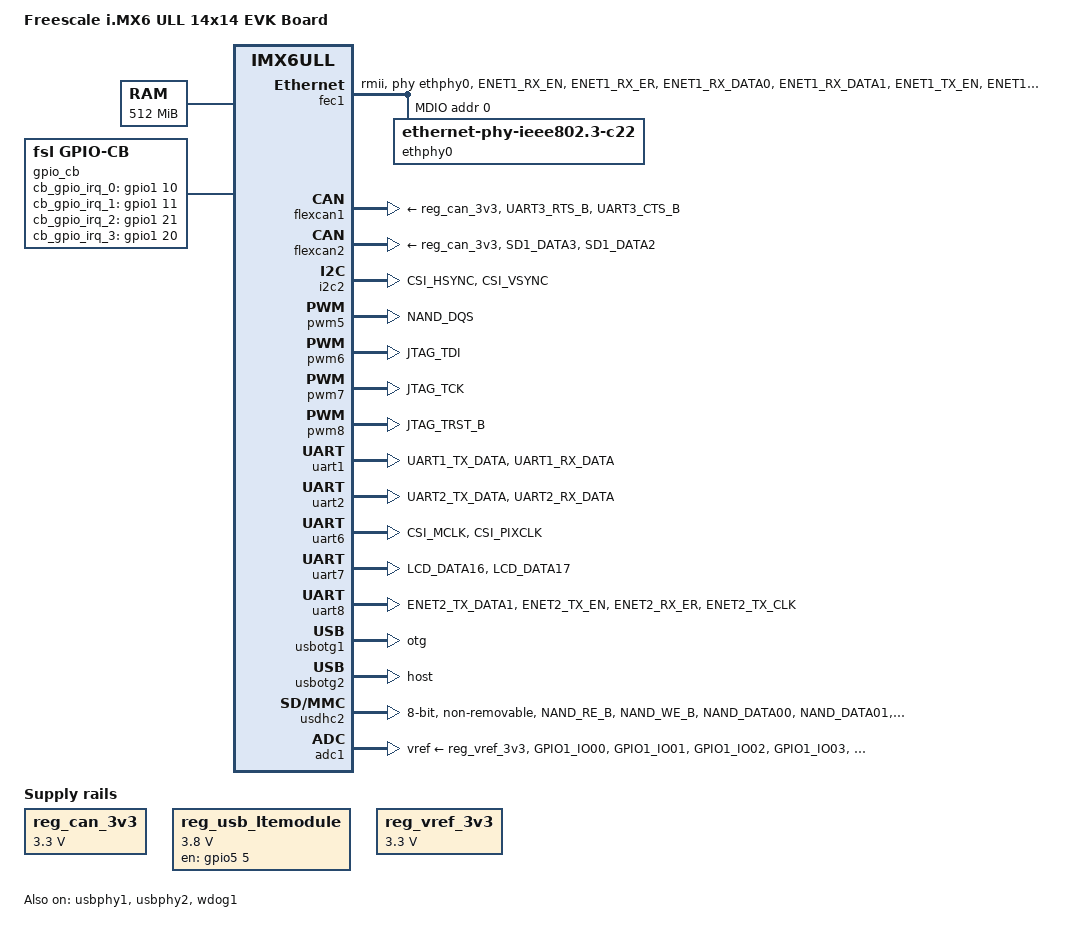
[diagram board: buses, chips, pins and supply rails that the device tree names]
/*
 * Copyright (C) 2016 Freescale Semiconductor, Inc.
 *
 * This program is free software; you can redistribute it and/or modify
 * it under the terms of the GNU General Public License version 2 as
 * published by the Free Software Foundation.
 */

/dts-v1/;

#include <dt-bindings/input/input.h>
#include "imx6ull.dtsi"

/ {
	model = "Freescale i.MX6 ULL 14x14 EVK Board";
	compatible = "fsl,imx6ull-14x14-evk", "fsl,imx6ull";

	chosen {
		stdout-path = &uart1;
	};

	memory {
		reg = <0x80000000 0x20000000>;
	};

	reserved-memory {
		#address-cells = <1>;
		#size-cells = <1>;
		ranges;

		linux,cma {
			compatible = "shared-dma-pool";
			reusable;
			size = <0x14000000>;
			linux,cma-default;
		};
	};

	regulators {
		compatible = "simple-bus";
		#address-cells = <1>;
		#size-cells = <0>;

		reg_can_3v3: regulator@0 {
			compatible = "regulator-fixed";
			reg = <0>;
			regulator-name = "can-3v3";
			regulator-min-microvolt = <3300000>;
			regulator-max-microvolt = <3300000>;
		};

		reg_usb_ltemodule: regulator@1 {
			compatible = "regulator-fixed";
			regulator-name = "ltemodule-pwr";
			regulator-min-microvolt = <3800000>;
			regulator-max-microvolt = <3800000>;
			gpios = <&gpio5 5 GPIO_ACTIVE_HIGH>;
			enable-active-high;
			regulator-boot-on;
		};

		reg_vref_3v3: regulator@3 {
			compatible = "regulator-fixed";
			regulator-name = "vref-3v3";
			regulator-min-microvolt = <3300000>;
			regulator-max-microvolt = <3300000>;
		};
	};


	gpio_cb {
                compatible = "fsl,gpio-cb";
                num-irq = <4>; 
                pinctrl-names = "default"; 
                
                cb_gpio_irq_0 = <&gpio1 10 0>;
                cb_gpio_irq_1 = <&gpio1 11 0>;
                cb_gpio_irq_2 = <&gpio1 21 0>;
                cb_gpio_irq_3 = <&gpio1 20 0>;
        };


/*	gpio_keys { 
		compatible = "gpio-keys";
		#address-cells = <1>;
		#size-cells = <0>;

		powerdown {
			label = "GPIO Power Down";
			gpios = <&gpio1 11 1>;
			linux,code = <102>; 
			gpio-key,wakeup;
		};	
	};
    */
};


&cpu0 {
	arm-supply = <&reg_arm>;
	soc-supply = <&reg_soc>;
};

&clks {
	assigned-clocks = <&clks IMX6UL_CLK_PLL4_AUDIO_DIV>;
	assigned-clock-rates = <786432000>;
};

&fec1 {
	pinctrl-names = "default";
	pinctrl-0 = <&pinctrl_enet1>;
	phy-mode = "rmii";
	phy-handle = <&ethphy0>;
	phy-reset-gpios = <&gpio5 9 GPIO_ACTIVE_LOW>;
	phy-reset-duration = <26>;
	status = "okay";

	mdio {
		#address-cells = <1>;
		#size-cells = <0>;

		ethphy0: ethernet-phy@0 {
			compatible = "ethernet-phy-ieee802.3-c22";
			smsc,disable-energy-detect;
			reg = <0>;
		};

	};
};


&flexcan1 {
	pinctrl-names = "default";
	pinctrl-0 = <&pinctrl_flexcan1>;
	xceiver-supply = <&reg_can_3v3>;
	status = "okay";
};

&flexcan2 {
	pinctrl-names = "default";
	pinctrl-0 = <&pinctrl_flexcan2>;
	xceiver-supply = <&reg_can_3v3>;
	status = "okay";
};


&gpc {
	fsl,cpu_pupscr_sw2iso = <0x1>;
	fsl,cpu_pupscr_sw = <0x0>;
	fsl,cpu_pdnscr_iso2sw = <0x1>;
	fsl,cpu_pdnscr_iso = <0x1>;
	fsl,ldo-bypass = <0>; /* DCDC, ldo-enable */
};

&i2c2 {
	clock_frequency = <100000>;
	pinctrl-names = "default";
	pinctrl-0 = <&pinctrl_i2c2>;
	status = "okay";  //okay
};

&iomuxc {
	pinctrl-names = "default";
	pinctrl-0 = <&pinctrl_hog_1>;
	imx6ul-evk { 
		pinctrl_adc1: adc1grp {
			fsl,pins = <
				MX6UL_PAD_GPIO1_IO00__GPIO1_IO00        0xb0
				MX6UL_PAD_GPIO1_IO01__GPIO1_IO01        0xb0
				MX6UL_PAD_GPIO1_IO02__GPIO1_IO02        0xb0
				MX6UL_PAD_GPIO1_IO03__GPIO1_IO03        0xb0
				MX6UL_PAD_GPIO1_IO04__GPIO1_IO04        0xb0
				MX6UL_PAD_GPIO1_IO05__GPIO1_IO05        0xb0
				MX6UL_PAD_GPIO1_IO08__GPIO1_IO08        0xb0
				MX6UL_PAD_GPIO1_IO09__GPIO1_IO09        0xb0
			>;
		};

		pinctrl_hog_1: hoggrp-1 {
			fsl,pins = <
				MX6UL_PAD_SD1_CMD__GPIO2_IO16             0xC0000000	/*MA1*/
				MX6UL_PAD_UART3_RX_DATA__GPIO1_IO25       0xC0000000	/*MA2*/
				MX6UL_PAD_CSI_DATA05__GPIO4_IO26          0xC0000000	/*HL1*/
				MX6UL_PAD_LCD_ENABLE__GPIO3_IO01          0xC0000000	/*HL2*/
				MX6UL_PAD_SD1_DATA1__GPIO2_IO19           0xC0000000	/*HL3*/
				MX6UL_PAD_UART2_CTS_B__GPIO1_IO22         0xC0000000	/*HL4*/
				MX6UL_PAD_UART5_TX_DATA__GPIO1_IO30       0xC0000000	/*HL5*/
				MX6UL_PAD_UART4_RX_DATA__GPIO1_IO29       0xC0000000	/*HL6*/
			        MX6UL_PAD_CSI_DATA01__GPIO4_IO22          0xC0000000	/*HL7*/
				MX6UL_PAD_CSI_DATA03__GPIO4_IO24          0xC0000000	/*HL8*/
				MX6UL_PAD_UART1_CTS_B__GPIO1_IO18         0xC0000000	/*HL9*/
				MX6UL_PAD_UART1_RTS_B__GPIO1_IO19         0xC0000000	/*HL10*/
				MX6UL_PAD_CSI_DATA04__GPIO4_IO25          0xC0000000	/*HV1*/
				MX6UL_PAD_LCD_CLK__GPIO3_IO00             0xC0000000	/*HV2*/
				MX6UL_PAD_SD1_DATA0__GPIO2_IO18           0xC0000000	/*HV3*/
				MX6UL_PAD_UART3_TX_DATA__GPIO1_IO24       0xC0000000	/*HV4*/
				MX6UL_PAD_UART5_RX_DATA__GPIO1_IO31       0xC0000000	/*HV5*/
				MX6UL_PAD_UART4_TX_DATA__GPIO1_IO28       0xC0000000	/*HV6*/
				MX6UL_PAD_CSI_DATA06__GPIO4_IO27          0xC0000000	/*sel1*/
				MX6UL_PAD_CSI_DATA07__GPIO4_IO28          0xC0000000	/*sel2*/
				MX6UL_PAD_SD1_CLK__GPIO2_IO17             0xC0000000	/*sel3*/
				MX6UL_PAD_ENET2_RX_DATA1__GPIO2_IO09      0xC0000000	/*sel4*/
				MX6UL_PAD_ENET2_RX_EN__GPIO2_IO10         0xC0000000	/*sel5*/
				MX6UL_PAD_ENET2_TX_DATA0__GPIO2_IO11      0xC0000000	/*sel6*/
                                MX6UL_PAD_SNVS_TAMPER3__GPIO5_IO03        0x000110A0	/*sel7*/
				MX6UL_PAD_SNVS_TAMPER2__GPIO5_IO02        0x000110A0	/*sel8*/
		                MX6UL_PAD_JTAG_MOD__GPIO1_IO10            0xC0000000	/*PI 0*/
				MX6UL_PAD_JTAG_TDO__GPIO1_IO12	          0xC0000000    /*PI 0,pin21,  gpio1.12*/
 		                MX6UL_PAD_JTAG_TMS__GPIO1_IO11            0xC0000000	/*PI 1*/
  		                MX6UL_PAD_UART2_RX_DATA__GPIO1_IO21       0xC0000000	/*PI 2*/
  		                MX6UL_PAD_UART2_TX_DATA__GPIO1_IO20       0xC0000000	/*PI 3*/
				MX6UL_PAD_LCD_VSYNC__GPIO3_IO03	            0xC0000000	/*5Vout enable*/
				MX6UL_PAD_SNVS_TAMPER1__GPIO5_IO01	    0xC001b0b1 	/*rst gsm, pin14, gpio5.1*/
				MX6UL_PAD_SNVS_TAMPER0__GPIO5_IO00	    0xC001b0b1	/*gsm on,  pin15, gpio5.0*/
				MX6UL_PAD_ENET2_RX_DATA0__GPIO2_IO08	    0xC0000000	/*PD,	pin79, gpio2.8*/
				MX6UL_PAD_LCD_DATA00__GPIO3_IO05	    0xC001b0b1	/*reload, pin87, gpio3.5*/
				MX6UL_PAD_LCD_DATA01__GPIO3_IO06	    0xC001b0b1	/*wfrst, pin88, gpio3.6*/
				/*MX6UL_PAD_LCD_DATA18__GPIO3_IO23	    0xC0000000	485, pin107, gpio3.23*/
 			>;
		};

		pinctrl_csi1: csi1grp {
			fsl,pins = <
				MX6UL_PAD_CSI_MCLK__CSI_MCLK		0x1b088
				MX6UL_PAD_CSI_PIXCLK__CSI_PIXCLK	0x1b088
				MX6UL_PAD_CSI_VSYNC__CSI_VSYNC		0x1b088
				MX6UL_PAD_CSI_HSYNC__CSI_HSYNC		0x1b088
				MX6UL_PAD_CSI_DATA00__CSI_DATA02	0x1b088
				MX6UL_PAD_CSI_DATA01__CSI_DATA03	0x1b088
				MX6UL_PAD_CSI_DATA02__CSI_DATA04	0x1b088
				MX6UL_PAD_CSI_DATA03__CSI_DATA05	0x1b088
				MX6UL_PAD_CSI_DATA04__CSI_DATA06	0x1b088
				MX6UL_PAD_CSI_DATA05__CSI_DATA07	0x1b088
				MX6UL_PAD_CSI_DATA06__CSI_DATA08	0x1b088
				MX6UL_PAD_CSI_DATA07__CSI_DATA09	0x1b088
			>;
		};

		pinctrl_enet1: enet1grp {
			fsl,pins = <
				MX6UL_PAD_ENET1_RX_EN__ENET1_RX_EN	0x1b0b0
				MX6UL_PAD_ENET1_RX_ER__ENET1_RX_ER	0x1b0b0
				MX6UL_PAD_ENET1_RX_DATA0__ENET1_RDATA00	0x1b0b0
				MX6UL_PAD_ENET1_RX_DATA1__ENET1_RDATA01	0x1b0b0
				MX6UL_PAD_ENET1_TX_EN__ENET1_TX_EN	0x1b0b0
				MX6UL_PAD_ENET1_TX_DATA0__ENET1_TDATA00	0x1b0b0
				MX6UL_PAD_ENET1_TX_DATA1__ENET1_TDATA01	0x1b0b0
				MX6UL_PAD_ENET1_TX_CLK__ENET1_REF_CLK1	0x4001b031
			>;
		};

		pinctrl_i2c2: i2c2grp {
			fsl,pins = <
				MX6UL_PAD_CSI_HSYNC__I2C2_SCL 0x4001b8b0
				MX6UL_PAD_CSI_VSYNC__I2C2_SDA 0x4001b8b0
			>;
		};

		pinctrl_pwm5: pwm5grp {
			fsl,pins = <
				MX6UL_PAD_NAND_DQS__PWM5_OUT   0x110b0
			>;
		};
		pinctrl_pwm6: pwm6grp {
			fsl,pins = <
				MX6UL_PAD_JTAG_TDI__PWM6_OUT   0x110b0
			>;
		};
		pinctrl_pwm7: pwm7grp {
			fsl,pins = <
				MX6UL_PAD_JTAG_TCK__PWM7_OUT   0x110b0
			>;
		};
		pinctrl_pwm8: pwm8grp {
			fsl,pins = <
				MX6UL_PAD_JTAG_TRST_B__PWM8_OUT   0x110b0
			>;
		};

		pinctrl_qspi: qspigrp {
			fsl,pins = <
				MX6UL_PAD_NAND_WP_B__QSPI_A_SCLK      0x70a1
				MX6UL_PAD_NAND_READY_B__QSPI_A_DATA00 0x70a1
				MX6UL_PAD_NAND_CE0_B__QSPI_A_DATA01   0x70a1
				MX6UL_PAD_NAND_CE1_B__QSPI_A_DATA02   0x70a1
				MX6UL_PAD_NAND_CLE__QSPI_A_DATA03     0x70a1
				MX6UL_PAD_NAND_DQS__QSPI_A_SS0_B      0x70a1
			>;
		};

		pinctrl_uart1: uart1grp {
			fsl,pins = <
				MX6UL_PAD_UART1_TX_DATA__UART1_DCE_TX 0x1b0b1
				MX6UL_PAD_UART1_RX_DATA__UART1_DCE_RX 0x1b0b1
			>;
		};

		pinctrl_uart2: uart2grp {
			fsl,pins = <
				MX6UL_PAD_UART2_TX_DATA__UART2_DCE_TX	0x1b0b1
				MX6UL_PAD_UART2_RX_DATA__UART2_DCE_RX	0x1b0b1
			>;
		};

		pinctrl_flexcan1: flexcan1grp{
			fsl,pins = <
				MX6UL_PAD_UART3_RTS_B__FLEXCAN1_RX	0x1b020   /*myir pin: 62*/
				MX6UL_PAD_UART3_CTS_B__FLEXCAN1_TX	0x1b020   /*myir pin: 63*/
			>;
		};

		pinctrl_flexcan2: flexcan2grp{
			fsl,pins = <
				MX6UL_PAD_SD1_DATA3__FLEXCAN2_RX	0x1b020   	/*myir pin: 122*/
				MX6UL_PAD_SD1_DATA2__FLEXCAN2_TX	0x1b020	/*myir pin: 123*/
			>;
		};

		pinctrl_uart6: uart6grp {
			fsl,pins = <
				MX6UL_PAD_CSI_MCLK__UART6_DCE_TX 	0x1b0b1  	/*CSI_MCLK: myir pin 140*/
				MX6UL_PAD_CSI_PIXCLK__UART6_DCE_RX 	0x1b0b1  	/*CSI_PIXCLK: myir pin 139*/
				//MX6UL_PAD_SNVS_TAMPER0__GPIO5_IO00 	0x1b0b1	/*GSM ON:myir pin 15*/
				//MX6UL_PAD_SNVS_TAMPER1__GPIO5_IO01 	0x1b0b1	/*GSM RST:myir pin 14*/
			>;
		};

		/* uart7 for RS485*/
		pinctrl_uart7: uart7grp {
			fsl,pins = <
				MX6UL_PAD_LCD_DATA16__UART7_DCE_TX	0x1b0b1   	/*LCD_DATA16: myir pin 105*/
				MX6UL_PAD_LCD_DATA17__UART7_DCE_RX	0x1b0b1	/*LCD_DATA17: myir pin 106*/
			/*	MX6UL_PAD_LCD_DATA18__GPIO3_IO23	0x1b0b1	 RS485 RE/DE*/
			>;
		};

		pinctrl_uart8: uart8grp {
			fsl,pins = <
				MX6UL_PAD_ENET2_TX_DATA1__UART8_DCE_TX 0x1b0b1  /*ENET2_TXD1: myir pin 84*/
				MX6UL_PAD_ENET2_TX_EN__UART8_DCE_RX 0x1b0b1  /*ENET2_TXEN: myir pin 83*/

				MX6UL_PAD_ENET2_RX_ER__UART8_DCE_RTS 0x1b0b1      /*ENET2_RXER: myir pin 81*/
				MX6UL_PAD_ENET2_TX_CLK__UART8_DCE_CTS 0x1b0b1  /*ENET2_TX_CLK:  myir pin 78*/
			>;
		};

		pinctrl_uart2dte: uart2dtegrp {
			fsl,pins = <
				MX6UL_PAD_UART2_TX_DATA__UART2_DTE_RX	0x1b0b1
				MX6UL_PAD_UART2_RX_DATA__UART2_DTE_TX	0x1b0b1
				MX6UL_PAD_UART3_RX_DATA__UART2_DTE_CTS	0x1b0b1
				MX6UL_PAD_UART3_TX_DATA__UART2_DTE_RTS	0x1b0b1
			>;
		};

		pinctrl_usdhc2: usdhc2grp {
			fsl,pins = <
				MX6UL_PAD_NAND_RE_B__USDHC2_CLK     0x10069
				MX6UL_PAD_NAND_WE_B__USDHC2_CMD     0x17059
				MX6UL_PAD_NAND_DATA00__USDHC2_DATA0 0x17059
				MX6UL_PAD_NAND_DATA01__USDHC2_DATA1 0x17059
				MX6UL_PAD_NAND_DATA02__USDHC2_DATA2 0x17059
				MX6UL_PAD_NAND_DATA03__USDHC2_DATA3 0x17059
			>;
		};

		pinctrl_usdhc2_8bit: usdhc2grp_8bit {
			fsl,pins = <
				MX6UL_PAD_NAND_RE_B__USDHC2_CLK     0x10069
				MX6UL_PAD_NAND_WE_B__USDHC2_CMD     0x17059
				MX6UL_PAD_NAND_DATA00__USDHC2_DATA0 0x17059
				MX6UL_PAD_NAND_DATA01__USDHC2_DATA1 0x17059
				MX6UL_PAD_NAND_DATA02__USDHC2_DATA2 0x17059
				MX6UL_PAD_NAND_DATA03__USDHC2_DATA3 0x17059
				MX6UL_PAD_NAND_DATA04__USDHC2_DATA4 0x17059
				MX6UL_PAD_NAND_DATA05__USDHC2_DATA5 0x17059
				MX6UL_PAD_NAND_DATA06__USDHC2_DATA6 0x17059
				MX6UL_PAD_NAND_DATA07__USDHC2_DATA7 0x17059
			>;
		};

		pinctrl_usdhc2_8bit_100mhz: usdhc2grp_8bit_100mhz {
			fsl,pins = <
				MX6UL_PAD_NAND_RE_B__USDHC2_CLK     0x100b9
				MX6UL_PAD_NAND_WE_B__USDHC2_CMD     0x170b9
				MX6UL_PAD_NAND_DATA00__USDHC2_DATA0 0x170b9
				MX6UL_PAD_NAND_DATA01__USDHC2_DATA1 0x170b9
				MX6UL_PAD_NAND_DATA02__USDHC2_DATA2 0x170b9
				MX6UL_PAD_NAND_DATA03__USDHC2_DATA3 0x170b9
				MX6UL_PAD_NAND_DATA04__USDHC2_DATA4 0x170b9
				MX6UL_PAD_NAND_DATA05__USDHC2_DATA5 0x170b9
				MX6UL_PAD_NAND_DATA06__USDHC2_DATA6 0x170b9
				MX6UL_PAD_NAND_DATA07__USDHC2_DATA7 0x170b9
			>;
		};

		pinctrl_usdhc2_8bit_200mhz: usdhc2grp_8bit_200mhz {
			fsl,pins = <
				MX6UL_PAD_NAND_RE_B__USDHC2_CLK     0x100f9
				MX6UL_PAD_NAND_WE_B__USDHC2_CMD     0x170f9
				MX6UL_PAD_NAND_DATA00__USDHC2_DATA0 0x170f9
				MX6UL_PAD_NAND_DATA01__USDHC2_DATA1 0x170f9
				MX6UL_PAD_NAND_DATA02__USDHC2_DATA2 0x170f9
				MX6UL_PAD_NAND_DATA03__USDHC2_DATA3 0x170f9
				MX6UL_PAD_NAND_DATA04__USDHC2_DATA4 0x170f9
				MX6UL_PAD_NAND_DATA05__USDHC2_DATA5 0x170f9
				MX6UL_PAD_NAND_DATA06__USDHC2_DATA6 0x170f9
				MX6UL_PAD_NAND_DATA07__USDHC2_DATA7 0x170f9
			>;
		};
	};
};

&iomuxc_snvs {
	pinctrl-names = "default_snvs";
	pinctrl-0 = <&pinctrl_hog_2>;
	imx6ul-evk {
		pinctrl_hog_2: hoggrp-2 {
			fsl,pins = <
				MX6ULL_PAD_SNVS_TAMPER0__GPIO5_IO00     0x80000000
				MX6ULL_PAD_SNVS_TAMPER9__GPIO5_IO09     0x1b0b0 /* enet1 reset */
				MX6ULL_PAD_SNVS_TAMPER7__GPIO5_IO07     0x1b0b0 /* LTE module WakeOut */
				MX6ULL_PAD_SNVS_TAMPER6__GPIO5_IO06     0x1b0b0 /* enet2 reset */
				MX6ULL_PAD_SNVS_TAMPER5__GPIO5_IO05     0x1b8b0 /* LTE module power */
				MX6ULL_PAD_SNVS_TAMPER3__GPIO5_IO03     0x1b0b0 /* Camera RST */
				MX6ULL_PAD_SNVS_TAMPER4__GPIO5_IO04     0x1b0b0 /* Camera PWRDN */
				MX6ULL_PAD_SNVS_TAMPER2__GPIO5_IO02     0x1b0b0 /* TP Reset */
			>;
		};

		pinctrl_spi4: spi4grp {
			fsl,pins = <
				MX6ULL_PAD_BOOT_MODE0__GPIO5_IO10        0x70a1
				MX6ULL_PAD_BOOT_MODE1__GPIO5_IO11        0x70a1
				MX6ULL_PAD_SNVS_TAMPER7__GPIO5_IO07      0x70a1
				MX6ULL_PAD_SNVS_TAMPER8__GPIO5_IO08      0x80000000
			>;
		};

		pinctrl_leds: ledgrp {
			fsl,pins = <
				MX6ULL_PAD_SNVS_TAMPER1__GPIO5_IO01 0x1b0b0
			>;
		};

		pinctrl_gpio_key: keygrp {
			fsl,pins = <
				MX6ULL_PAD_SNVS_TAMPER0__GPIO5_IO00 0x1b0b0
			>;
		};
	};
};

&pwm5 {
	pinctrl-names = "default";
	pinctrl-0 = <&pinctrl_pwm5>;
	status = "okay";
};

&pwm6 {
	pinctrl-names = "default";
	pinctrl-0 = <&pinctrl_pwm6>;
	status = "okay";
};

&pwm7 {
	pinctrl-names = "default";
	pinctrl-0 = <&pinctrl_pwm7>;
	status = "okay";
};

&pwm8 {
	pinctrl-names = "default";
	pinctrl-0 = <&pinctrl_pwm8>;
	status = "okay";
};

&uart1 {
	pinctrl-names = "default";
	pinctrl-0 = <&pinctrl_uart1>;
	status = "okay";
};


&uart2 {
	pinctrl-names = "default";
	pinctrl-0 = <&pinctrl_uart2>;
	status = "okay";
};

&uart6 {
	pinctrl-names = "default";
	pinctrl-0 = <&pinctrl_uart6>;
	status = "okay";  //  okay  disabled
};

&uart7 {
	pinctrl-names = "default";
	pinctrl-0 = <&pinctrl_uart7>;
	//fsl,rs485-gpio-txen = <&gpio3 23 GPIO_ACTIVE_HIGH>;
	//linux,rs485-enabled-at-boot-time;
	status = "okay";  //  okay  disabled
};

&uart8 {
	pinctrl-names = "default";
	pinctrl-0 = <&pinctrl_uart8>;
	status = "okay";
};

&usbotg1 {
	dr_mode = "otg";
	srp-disable;
	hnp-disable;
	adp-disable;
	status = "okay";
};

&usbotg2 {
	dr_mode = "host";
	disable-over-current;
	status = "okay";
};

&usbphy1 {
	tx-d-cal = <0x5>;
	status = "okay";
};

&usbphy2 {
	tx-d-cal = <0x5>;
	status = "okay";
};

&wdog1 {
	status = "okay";
};

&gpmi {
	status = "disabled";
};

&usdhc2 {
	pinctrl-names = "default";
	pinctrl-0 = <&pinctrl_usdhc2_8bit>;  
	bus-width = <8>;
	non-removable;
	status = "okay";
};

&adc1 {
	pinctrl-names = "default";
	pinctrl-0 = <&pinctrl_adc1>;
	vref-supply = <&reg_vref_3v3>;
	num-channels = <9>; 
	status = "okay";
};

